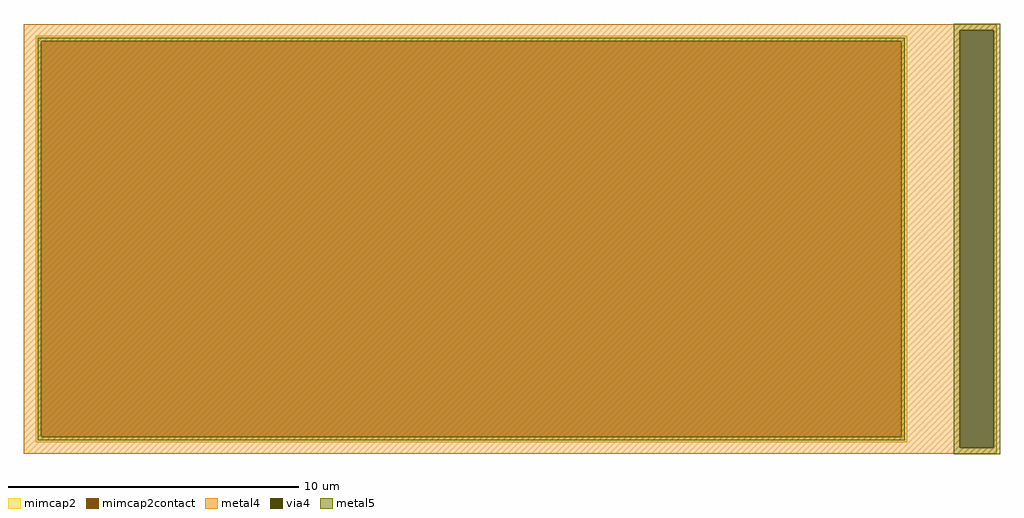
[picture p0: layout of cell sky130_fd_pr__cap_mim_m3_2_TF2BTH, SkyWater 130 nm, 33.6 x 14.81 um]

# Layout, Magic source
magic
tech sky130A
magscale 1 2
<< metal4 >>
rect -3349 1439 3349 1480
rect -3349 -1439 3093 1439
rect 3329 -1439 3349 1439
rect -3349 -1480 3349 -1439
<< via4 >>
rect 3093 -1439 3329 1439
<< mimcap2 >>
rect -3269 1360 2731 1400
rect -3269 -1360 -3229 1360
rect 2691 -1360 2731 1360
rect -3269 -1400 2731 -1360
<< mimcap2contact >>
rect -3229 -1360 2691 1360
<< metal5 >>
rect 3051 1439 3371 1481
rect -3253 1360 2715 1384
rect -3253 -1360 -3229 1360
rect 2691 -1360 2715 1360
rect -3253 -1384 2715 -1360
rect 3051 -1439 3093 1439
rect 3329 -1439 3371 1439
rect 3051 -1481 3371 -1439
<< properties >>
string FIXED_BBOX -3349 -1480 2811 1480
string gencell sky130_fd_pr__cap_mim_m3_2
string library sky130
string parameters w 30.0 l 14 val 856.72 carea 2.00 cperi 0.19 nx 1 ny 1 dummy 0 square 0 lmin 2.00 wmin 2.00 lmax 30.0 wmax 30.0 dc 0 bconnect 1 tconnect 1 ccov 100
<< end >>
